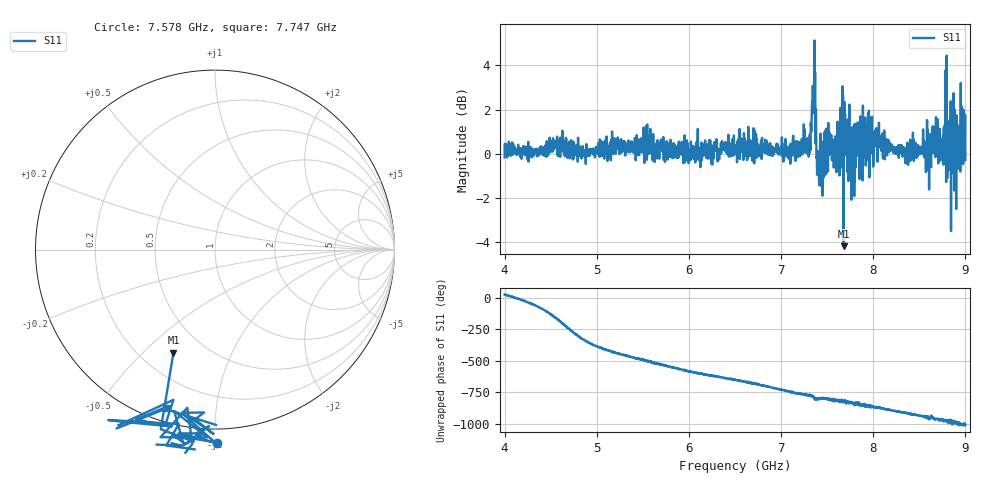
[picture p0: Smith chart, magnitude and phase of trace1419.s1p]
! Created with skrf 1.8.0 (http://scikit-rf.org).
# Hz S RI R 50.0
!freq ReS11 ImS11
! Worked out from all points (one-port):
!   1601 points, 4 GHz to 9 GHz, reference 50 ohm
!   lowest |S11| = -4.2 dB at 7.678 GHz (marker M1), VSWR 4.25, Z = 16.7 - j31.1 ohm
!   |S11| at or under -10 dB: nowhere
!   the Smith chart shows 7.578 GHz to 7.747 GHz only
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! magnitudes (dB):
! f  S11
! 4 GHz  -0.2
! 4.625 GHz  0.4
! 4.891 GHz  -0.1
! 5.25 GHz  0.3
! 5.875 GHz  -0.1
! 6.5 GHz  0.1
! 7.125 GHz  0.5
! 7.294 GHz  0.2
! 7.347 GHz  2.3
! 7.362 GHz  5.1
! 7.397 GHz  -0.8
! 7.412 GHz  -1.2
! 7.509 GHz  -0.8
! 7.584 GHz  0.2
! 7.678 GHz  -4.2
! 7.75 GHz  -0.6
! 7.784 GHz  0.0
! 7.822 GHz  0.0
! 7.928 GHz  0.8
! 8.375 GHz  0.0
! 8.612 GHz  0.3
! 8.656 GHz  1.2
! 8.725 GHz  0.9
! 8.8 GHz  0.1
! 8.825 GHz  1.0
! 8.919 GHz  -0.7
! 8.972 GHz  1.0
! 9 GHz  -0.3
